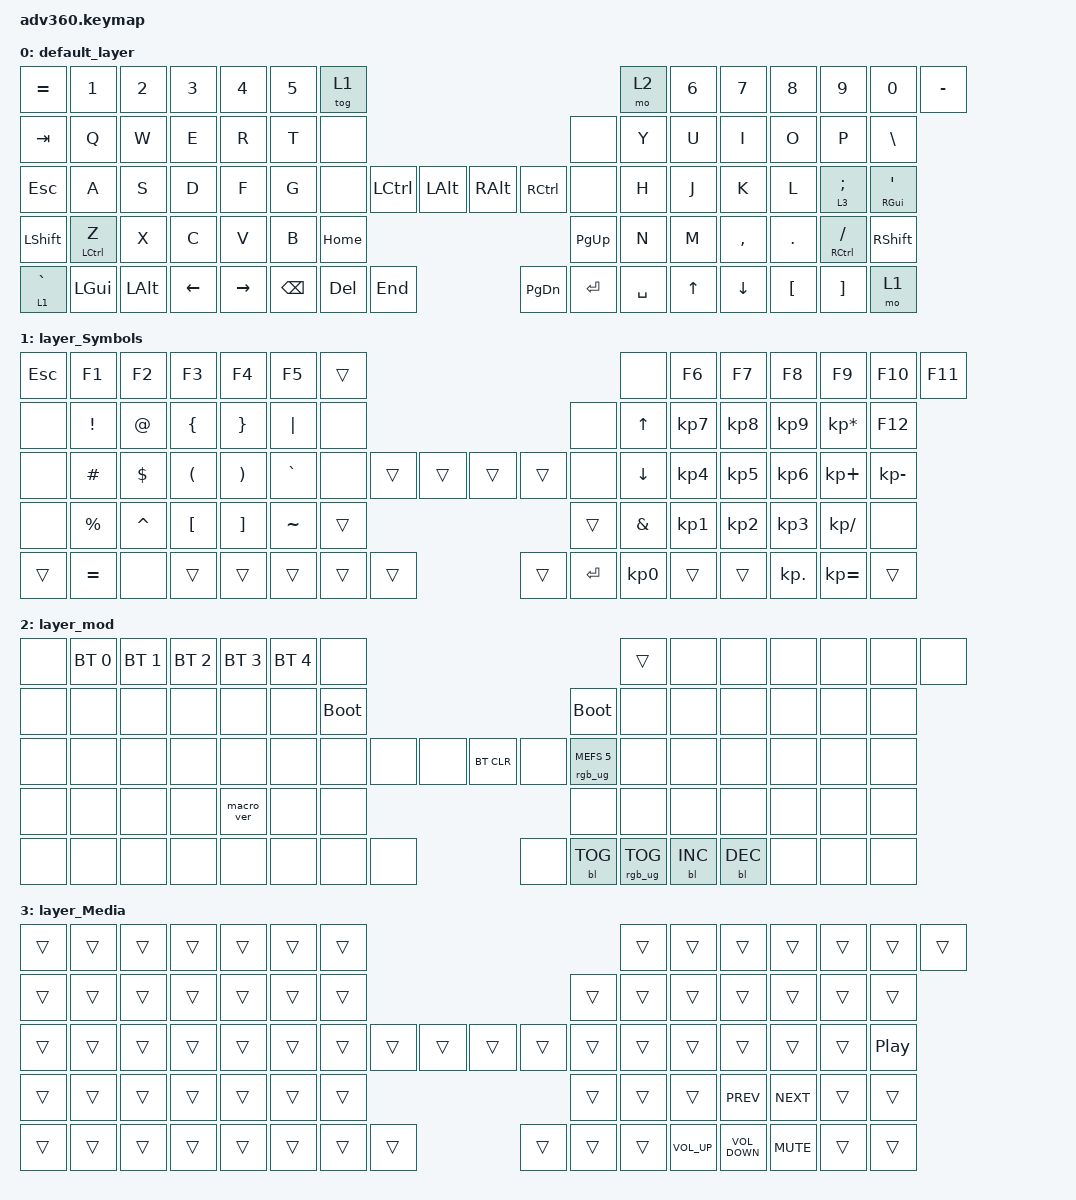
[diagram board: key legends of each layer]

/*
 * Copyright (c) 2020 The ZMK Contributors
 *
 * SPDX-License-Identifier: MIT
 */


/* THIS FILE WAS GENERATED!
 *
 * This file was generated automatically. You may or may not want to
 * edit it directly.
 */

#include <behaviors.dtsi>
#include <dt-bindings/zmk/keys.h>
#include <dt-bindings/zmk/bt.h>
#include <dt-bindings/zmk/rgb.h>
#include <dt-bindings/zmk/backlight.h>

/ {
  behaviors {
    #include "macros.dtsi"
    #include "version.dtsi"

    hm: homerow_mods {
        compatible = "zmk,behavior-hold-tap";
        label = "HOMEROW_MODS";
        #binding-cells = <2>;
        tapping-term-ms = <200>;
        quick_tap_ms = <175>;
        flavor = "tap-preferred";
        bindings = <&kp>, <&kp>;
    };
  };

    keymap {
        compatible = "zmk,keymap";


        default_layer {
            bindings = <
   &kp EQUAL       &kp N1    &kp N2    &kp N3     &kp N4  &kp N5                   &tog 1                                                                 &mo 2  &kp N6  &kp N7     &kp N8    &kp N9          &kp N0     &kp MINUS
     &kp TAB        &kp Q     &kp W     &kp E      &kp R   &kp T                    &none                                                                 &none   &kp Y   &kp U      &kp I     &kp O           &kp P      &kp BSLH
     &kp ESC        &kp A     &kp S     &kp D      &kp F   &kp G                    &none  &kp LCTRL  &kp LALT                   &kp RALT  &kp RCTRL      &none   &kp H   &kp J      &kp K     &kp L      &lt 3 SEMI  &mt RGUI SQT
   &kp LSHFT  &mt LCTRL Z     &kp X     &kp C      &kp V   &kp B                                      &kp HOME                  &kp PG_UP                         &kp N   &kp M  &kp COMMA   &kp DOT  &mt RCTRL FSLH     &kp RSHFT
 &lt 1 GRAVE     &kp LGUI  &kp LALT  &kp LEFT  &kp RIGHT                    &kp BACKSPACE    &kp DEL   &kp END                  &kp PG_DN  &kp ENTER  &kp SPACE          &kp UP   &kp DOWN  &kp LBKT        &kp RBKT         &mo 1
            >;
        };

        layer_Symbols {
            bindings = <
 &kp ESC           &kp F1       &kp F2                &kp F3                 &kp F4     &kp F5            &trans                                                         &none         &kp F6     &kp F7     &kp F8      &kp F9          &kp F10       &kp F11
   &none  &kp EXCLAMATION  &kp AT_SIGN        &kp LEFT_BRACE        &kp RIGHT_BRACE   &kp PIPE             &none                                                         &none         &kp UP  &kp KP_N7  &kp KP_N8   &kp KP_N9  &kp KP_MULTIPLY       &kp F12
   &none        &kp POUND   &kp DOLLAR  &kp LEFT_PARENTHESIS  &kp RIGHT_PARENTHESIS  &kp GRAVE             &none  &trans  &trans                  &trans     &trans      &none       &kp DOWN  &kp KP_N4  &kp KP_N5   &kp KP_N6      &kp KP_PLUS  &kp KP_MINUS
   &none      &kp PERCENT    &kp CARET      &kp LEFT_BRACKET      &kp RIGHT_BRACKET  &kp TILDE                            &trans                  &trans                        &kp AMPERSAND  &kp KP_N1  &kp KP_N2   &kp KP_N3     &kp KP_SLASH         &none
  &trans        &kp EQUAL        &none                &trans                 &trans                       &trans  &trans  &trans                  &trans  &kp ENTER  &kp KP_N0                    &trans     &trans  &kp KP_DOT     &kp KP_EQUAL        &trans
            >;
        };

        layer_mod {
            bindings = <
  &none  &bt BT_SEL 0  &bt BT_SEL 1  &bt BT_SEL 2  &bt BT_SEL 3  &bt BT_SEL 4                  &none                                                                          &trans   &none       &none       &none   &none   &none   &none
  &none         &none         &none         &none         &none         &none            &bootloader                                                                     &bootloader   &none       &none       &none   &none   &none   &none
  &none         &none         &none         &none         &none         &none                  &none   &none   &none                  &bt BT_CLR       &none  &rgb_ug RGB_MEFS_CMD 5   &none       &none       &none   &none   &none   &none
  &none         &none         &none         &none    &macro_ver         &none                                  &none                       &none                                       &none       &none       &none   &none   &none   &none
  &none         &none         &none         &none         &none                                &none   &none   &none                       &none  &bl BL_TOG         &rgb_ug RGB_TOG          &bl BL_INC  &bl BL_DEC   &none   &none   &none
            >;
        };

        layer_Media {
            bindings = <
 &trans  &trans  &trans  &trans  &trans  &trans            &trans                                                  &trans  &trans           &trans             &trans      &trans  &trans            &trans
 &trans  &trans  &trans  &trans  &trans  &trans            &trans                                                  &trans  &trans           &trans             &trans      &trans  &trans            &trans
 &trans  &trans  &trans  &trans  &trans  &trans            &trans  &trans  &trans                  &trans  &trans  &trans  &trans           &trans             &trans      &trans  &trans  &kp C_PLAY_PAUSE
 &trans  &trans  &trans  &trans  &trans  &trans                            &trans                  &trans                  &trans           &trans         &kp C_PREV  &kp C_NEXT  &trans            &trans
 &trans  &trans  &trans  &trans  &trans                    &trans  &trans  &trans                  &trans  &trans  &trans          &kp C_VOLUME_UP  &kp C_VOLUME_DOWN  &kp C_MUTE  &trans            &trans
            >;
        };

    };
};
